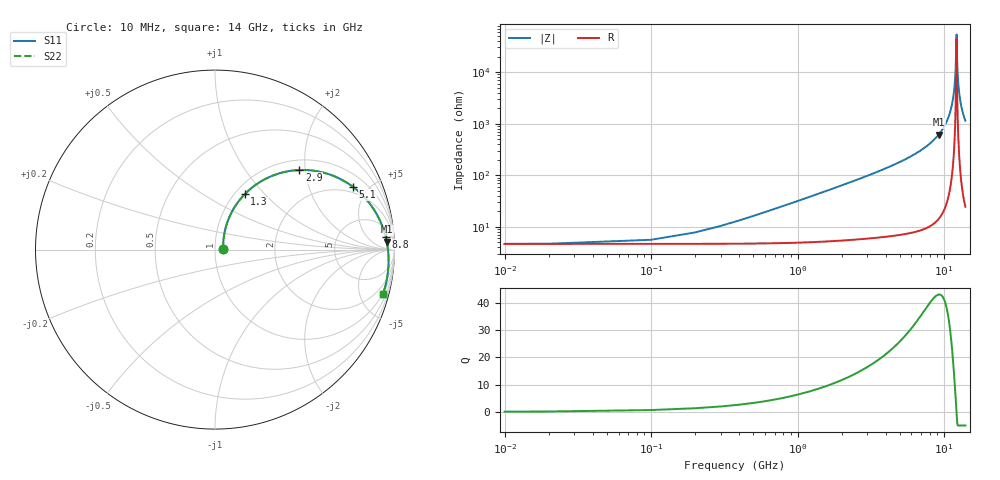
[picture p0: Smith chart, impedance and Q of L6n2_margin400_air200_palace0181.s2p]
! Created with skrf 2.2.0 (http://scikit-rf.org).
# GHz S DB R 50.0
! Port[1] = P1
! Port[2] = P2
!freq dBS11 angS11 dBS21 angS21 dBS12 angS12 dBS22 angS22
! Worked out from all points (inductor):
!   142 points, 10 MHz to 14 GHz, reference 50 ohm
!   read as one part in series: L = 4.97 nH near 500 MHz
!   highest Q = 43.1 at 9.2 GHz (marker M1), where L = 10.7 nH
!   self-resonance near 12.1 GHz
!   S11 on the Smith chart (normalised r, x): 10 MHz: 1.09, +0.01; 1.3 GHz: 1.11, +0.78; 2.9 GHz: 1.22, +1.86; 5.1 GHz: 1.64, +3.99; 8.8 GHz: 12, +19; 14 GHz: 0.95, -7.50
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0.01  -26.97 3.3  -0.40 -0.2  -0.40 -0.2  -26.97 3.3
0.6  -15.33 65.9  -0.58 -10.8  -0.58 -10.8  -15.33 65.9
1.3  -9.11 61.8  -1.11 -22.3  -1.11 -22.3  -9.11 61.8
2.4  -4.86 48.8  -2.39 -37.8  -2.39 -37.8  -4.86 48.8
2.9  -3.78 43.3  -3.10 -43.8  -3.10 -43.8  -3.79 43.3
4.7  -1.72 27.3  -6.03 -60.7  -6.03 -60.7  -1.72 27.3
5.1  -1.46 24.4  -6.73 -63.8  -6.73 -63.8  -1.46 24.4
7.1  -0.70 12.4  -10.64 -76.2  -10.64 -76.2  -0.71 12.4
8.8  -0.41 4.3  -14.87 -84.4  -14.87 -84.4  -0.42 4.3
9.2  -0.37 2.6  -16.11 -86.1  -16.11 -86.1  -0.37 2.6
9.4  -0.35 1.8  -16.78 -86.9  -16.78 -86.9  -0.36 1.8
10.9  -0.27 -4.1  -23.97 -92.2  -23.97 -92.2  -0.27 -4.1
11.4  -0.25 -5.9  -28.41 -93.2  -28.41 -93.2  -0.26 -5.9
11.7  -0.25 -7.0  -32.69 -92.9  -32.69 -92.9  -0.25 -7.0
11.9  -0.25 -7.7  -37.39 -91.0  -37.39 -91.0  -0.25 -7.7
12  -0.25 -8.1  -41.18 -87.8  -41.18 -87.8  -0.25 -8.1
12.2  -0.25 -8.8  -54.89 24.5  -54.89 24.5  -0.25 -8.8
12.3  -0.25 -9.2  -44.54 66.4  -44.54 66.4  -0.25 -9.2
12.4  -0.25 -9.5  -39.52 72.5  -39.52 72.5  -0.25 -9.5
12.6  -0.25 -10.2  -34.02 75.7  -34.02 75.7  -0.25 -10.2
13.1  -0.26 -11.9  -27.34 76.2  -27.34 76.2  -0.26 -11.9
14  -0.28 -15.0  -21.59 74.0  -21.59 74.0  -0.29 -15.0
